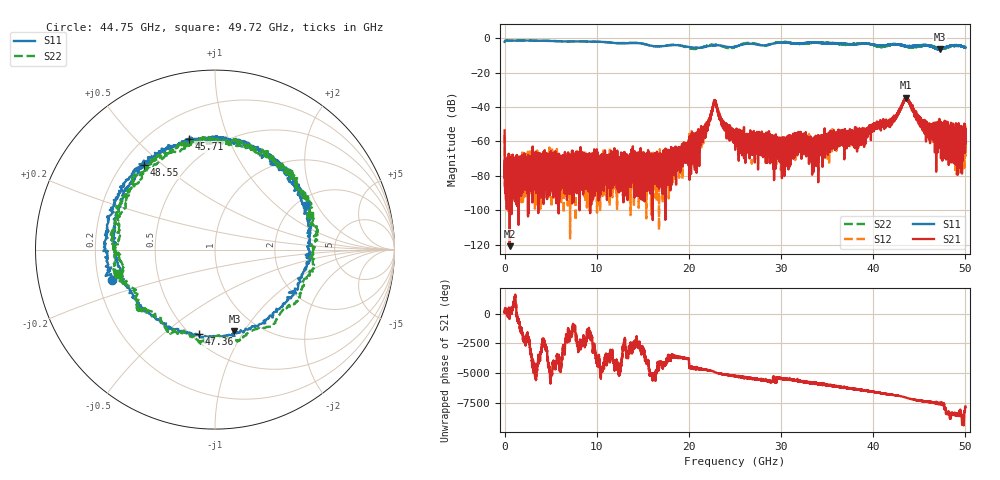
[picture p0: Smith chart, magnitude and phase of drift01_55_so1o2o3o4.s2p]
!Created with skrf (http://scikit-rf.org).
# Hz S RI R 50.0
!freq ReS11 ImS11 ReS21 ImS21 ReS12 ImS12 ReS22 ImS22
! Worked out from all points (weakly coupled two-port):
!   10001 points, 300 kHz to 50 GHz, reference 50 ohm
!   highest |S21| = -34.66 dB at 43.58 GHz (marker M1); lowest = -120.8 dB at 555.3 MHz (marker M2)
!   lowest |S11| = -6.6 dB at 47.2 GHz (marker M3), VSWR 2.76, Z = 38.9 - j45.4 ohm
!   |S11| at or under -10 dB: nowhere
!   |S22| runs from -6.4 to -1.4 dB; largest |S21 - S12| = 0.004
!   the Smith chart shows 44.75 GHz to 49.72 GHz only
!   S11 on the Smith chart (normalised r, x): 44.75 GHz: 0.25, -0.13; 45.71 GHz: 0.35, +0.73; 47.36 GHz: 0.55, -0.67; 48.55 GHz: 0.29, +0.43; 49.72 GHz: 2.25, +1.64
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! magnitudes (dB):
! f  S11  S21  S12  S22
! 300 kHz  -2.1  -53.6  -56.2  -2.1
! 255.3 MHz  -1.4  -84.9  -75.3  -1.4
! 555.3 MHz  -1.5  -120.8  -76.5  -1.4
! 8.335 GHz  -1.9  -78.3  -80.7  -1.8
! 16.67 GHz  -4.8  -70.4  -85.3  -4.8
! 20.89 GHz  -5.7  -58.4  -59.3  -6.2
! 21.96 GHz  -4.8  -53.9  -49.3  -4.4
! 22.8 GHz  -4.3  -36.0  -36.6  -4.0
! 23.75 GHz  -4.6  -48.8  -50.5  -5.0
! 25 GHz  -5.0  -54.9  -58.2  -5.1
! 30.01 GHz  -2.6  -61.2  -65.7  -2.3
! 31.9 GHz  -3.2  -58.1  -60.9  -3.3
! 33.34 GHz  -2.6  -63.0  -64.6  -2.6
! 41.67 GHz  -3.9  -48.7  -48.9  -4.2
! 43.58 GHz  -4.6  -34.7  -35.6  -4.7
! 44.75 GHz  -4.4  -45.1  -46.2  -5.1
! 45.71 GHz  -4.0  -50.4  -49.8  -4.1
! 47.2 GHz  -6.6  -58.5  -55.1  -5.9
! 47.36 GHz  -6.4  -63.2  -63.5  -6.0
! 48.55 GHz  -4.2  -60.2  -60.7  -4.6
! 49.72 GHz  -4.9  -71.1  -63.1  -4.9
! 50 GHz  -5.5  -59.2  -51.3  -5.3
